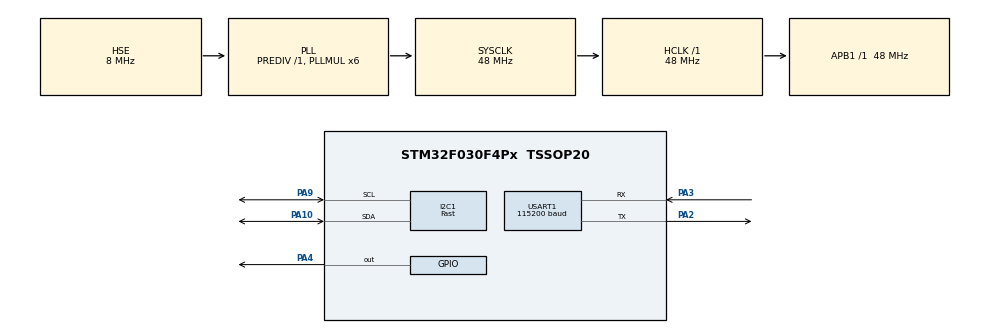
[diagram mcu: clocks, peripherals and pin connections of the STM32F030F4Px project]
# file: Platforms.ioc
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Dma.I2C1_RX.0.Direction=DMA_PERIPH_TO_MEMORY
Dma.I2C1_RX.0.Instance=DMA1_Channel3
Dma.I2C1_RX.0.MemDataAlignment=DMA_MDATAALIGN_BYTE
Dma.I2C1_RX.0.MemInc=DMA_MINC_ENABLE
Dma.I2C1_RX.0.Mode=DMA_NORMAL
Dma.I2C1_RX.0.PeriphDataAlignment=DMA_PDATAALIGN_BYTE
Dma.I2C1_RX.0.PeriphInc=DMA_PINC_DISABLE
Dma.I2C1_RX.0.Priority=DMA_PRIORITY_HIGH
Dma.I2C1_TX.1.Direction=DMA_MEMORY_TO_PERIPH
Dma.I2C1_TX.1.Instance=DMA1_Channel2
Dma.I2C1_TX.1.MemDataAlignment=DMA_MDATAALIGN_BYTE
Dma.I2C1_TX.1.MemInc=DMA_MINC_ENABLE
Dma.I2C1_TX.1.Mode=DMA_NORMAL
Dma.I2C1_TX.1.PeriphDataAlignment=DMA_PDATAALIGN_BYTE
Dma.I2C1_TX.1.PeriphInc=DMA_PINC_DISABLE
Dma.I2C1_TX.1.Priority=DMA_PRIORITY_MEDIUM
Dma.Request0=I2C1_RX
Dma.Request1=I2C1_TX
I2C1.AddressingMode=I2C_ADDRESSINGMODE_7BIT
I2C1.Analog_Filter=I2C_ANALOGFILTER_DISABLED
I2C1.DualAddressMode=I2C_DUALADDRESS_ENABLED
I2C1.GeneralCallMode=I2C_GENERALCALL_ENABLED
I2C1.I2C_Coeff_DF=4
I2C1.I2C_Speed_Mode=I2C_Fast
I2C1.OwnAddress=4
I2C1.Timing=0x00000006
Mcu.Family=STM32F0
Mcu.Name=STM32F030F4Px
Mcu.Package=TSSOP20
NVIC.DMA1_Channel2_3_IRQn=true\:0\:0\:false
NVIC.I2C1_IRQn=true\:0\:0\:false
NVIC.TIM17_IRQn=true\:2\:0\:true
PA10.GPIO_FMA10=__NULL
PA10.Mode=I2C
PA10.Signal=I2C1_SDA
PA13.Mode=Serial-WireDebug
PA13.Signal=SYS_SWDIO
PA14.Mode=Serial-WireDebug
PA14.Signal=SYS_SWCLK
PA2.Mode=Asynchronous
PA2.Signal=USART1_TX
PA3.Mode=Asynchronous
PA3.Signal=USART1_RX
PA4.Signal=GPIO_Output
PA9.GPIO_FMA9=__NULL
PA9.Mode=I2C
PA9.Signal=I2C1_SCL
PF0-OSC_IN.Mode=HSE-External-Oscillator
PF0-OSC_IN.Signal=RCC_OSC_IN
PF1-OSC_OUT.Mode=HSE-External-Oscillator
PF1-OSC_OUT.Signal=RCC_OSC_OUT
ProjectManager.HeapSize=0x200
ProjectManager.StackSize=0x400
ProjectManager.TargetToolchain=MDK-ARM V5
RCC.AHBFreq_Value=48000000
RCC.APB1Freq_Value=48000000
RCC.APB1TimFreq_Value=48000000
RCC.HCLKFreq_Value=48000000
RCC.PLLMUL=RCC_PLL_MUL6
RCC.PLLSourceVirtual=RCC_PLLSOURCE_HSE
RCC.SYSCLKFreq_VALUE=48000000
RCC.SYSCLKSource=RCC_SYSCLKSOURCE_PLLCLK
TIM17.Period=1000
TIM17.Prescaler=479
USART1.BaudRate=115200
VP_TIM17_VS_ClockSourceINT.Mode=Enable_Timer
board=Platforms

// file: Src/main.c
/**
  ******************************************************************************
  * File Name          : main.c
  * Description        : Main program body
  ******************************************************************************
  *
  * COPYRIGHT(c) 2016 STMicroelectronics
  *
  * Redistribution and use in source and binary forms, with or without modification,
  * are permitted provided that the following conditions are met:
  *   1. Redistributions of source code must retain the above copyright notice,
  *      this list of conditions and the following disclaimer.
  *   2. Redistributions in binary form must reproduce the above copyright notice,
  *      this list of conditions and the following disclaimer in the documentation
  *      and/or other materials provided with the distribution.
  *   3. Neither the name of STMicroelectronics nor the names of its contributors
  *      may be used to endorse or promote products derived from this software
  *      without specific prior written permission.
  *
  * THIS SOFTWARE IS PROVIDED BY THE COPYRIGHT HOLDERS AND CONTRIBUTORS "AS IS"
  * AND ANY EXPRESS OR IMPLIED WARRANTIES, INCLUDING, BUT NOT LIMITED TO, THE
  * IMPLIED WARRANTIES OF MERCHANTABILITY AND FITNESS FOR A PARTICULAR PURPOSE ARE
  * DISCLAIMED. IN NO EVENT SHALL THE COPYRIGHT HOLDER OR CONTRIBUTORS BE LIABLE
  * FOR ANY DIRECT, INDIRECT, INCIDENTAL, SPECIAL, EXEMPLARY, OR CONSEQUENTIAL
  * DAMAGES (INCLUDING, BUT NOT LIMITED TO, PROCUREMENT OF SUBSTITUTE GOODS OR
  * SERVICES; LOSS OF USE, DATA, OR PROFITS; OR BUSINESS INTERRUPTION) HOWEVER
  * CAUSED AND ON ANY THEORY OF LIABILITY, WHETHER IN CONTRACT, STRICT LIABILITY,
  * OR TORT (INCLUDING NEGLIGENCE OR OTHERWISE) ARISING IN ANY WAY OUT OF THE USE
  * OF THIS SOFTWARE, EVEN IF ADVISED OF THE POSSIBILITY OF SUCH DAMAGE.
  *
  ******************************************************************************
  */

/* USER CODE BEGIN Includes */

#include "main.h"
#include "cLEDs.h"		//代表状态灯
#include "sI2C.h"
#include "sKey.h"

/* USER CODE END Includes */

/* USER CODE BEGIN PV */
/* Private variables ---------------------------------------------------------*/

/* Buffer used for transmission */

/* Buffer used for reception */

/* USER CODE END PV */

void SystemClock_Config(void);

/* USER CODE BEGIN PFP */
/* Private function prototypes -----------------------------------------------*/

/* USER CODE END PFP */

/* USER CODE BEGIN 0 */

#ifdef __GNUC__
#define PUTCHAR_PROTOTYPE int __io_putchar(int ch)
#else
#define PUTCHAR_PROTOTYPE int fputc(int ch, FILE *f)
#endif /* __GNUC__ */
PUTCHAR_PROTOTYPE
{
	HAL_UART_Transmit(&huart1 , (uint8_t *)&ch, 1, 100);
	return ch;
}

#define APPLICATION_ADDRESS				(uint32_t)0x08001000
#define SYSCFG_MemoryRemap_SRAM		((uint8_t)0x03)

#if   (defined ( __CC_ARM ))
  __IO uint32_t VectorTable[48] __attribute__((at(0x20000000)));
#elif (defined (__ICCARM__))
#pragma location = 0x20000000
  __no_init __IO uint32_t VectorTable[48];
#elif defined   (  __GNUC__  )
  __IO uint32_t VectorTable[48] __attribute__((section(".RAMVectorTable")));
#elif defined ( __TASKING__ )
  __IO uint32_t VectorTable[48] __at(0x20000000);
#endif

void NVIC_SRAM(void)
{
	for(uint8_t i = 0; i < 48; i++)
  {
    VectorTable[i] = *(__IO uint32_t*)(APPLICATION_ADDRESS + (i<<2));
  }

	uint32_t tmpctrl = 0;
  /* Get CFGR1 register value */
  tmpctrl = SYSCFG->CFGR1;

  /* Clear MEM_MODE bits */
  tmpctrl &= (uint32_t) (~SYSCFG_CFGR1_MEM_MODE);

  /* Set the new MEM_MODE bits value */
  tmpctrl |= (uint32_t) SYSCFG_MemoryRemap_SRAM;

  /* Set CFGR1 register with the new memory remap configuration */
  SYSCFG->CFGR1 = tmpctrl;
}

/* USER CODE END 0 */

int main(void)
{

  /* USER CODE BEGIN 1 */

//  if(NVIC_GetPendingIRQ(SysTick_IRQn) != RESET)
//  {
//    HAL_NVIC_ClearPendingIRQ(SysTick_IRQn);
//		HAL_UART_Transmit(&huart1,"SysTick_IRQn\r\n",14,10);
//  }
  /* USER CODE END 1 */

  /* MCU Configuration----------------------------------------------------------*/

  /* Reset of all peripherals, Initializes the Flash interface and the Systick. */
  HAL_Init();

  /* Configure the system clock */

	NVIC_SRAM();
	SystemClock_Config();
  /* Initialize all configured peripherals */
  MX_GPIO_Init();
  MX_DMA_Init();
  MX_I2C1_Init();
  MX_TIM17_Init();
  MX_USART1_UART_Init();

  /* USER CODE BEGIN 2 */
  HAL_TIM_Base_Start_IT(&htim17);

	cLEDs_Init();
	sKey_Init();
	printf("I am sKey\r\n");

	HAL_I2C_Slave_Receive_DMA(&hi2c1,i2c_Data.frame,I2C_FRAME_SIZE);

  /* USER CODE END 2 */

  /* Infinite loop */
	while(1)
	{

  /* USER CODE BEGIN 3 */
		//此处进入休眠状态
	}
  /* USER CODE END 3 */

}
/* USER CODE BEGIN 4 */

void HAL_TIM_PeriodElapsedCallback(TIM_HandleTypeDef *htim)  //定时中断
{
	HAL_TIM_Base_Start_IT(&htim17);
	if(i2c_Data.cmd == 0x51)
	{
		HAL_GPIO_TogglePin(GPIOA,GPIO_PIN_1);
		i2c_Data.cmd = 0x00;
	}
}

void HAL_SYSTICK_Callback(void)
{
	if(HAL_GetTick()%1000==0)
	{
		cLEDs_Toggle(R);

		//如果I2C进入空闲状态，必须重启接收
		if(HAL_I2C_GetState(&hi2c1)==HAL_I2C_STATE_READY)
		{
			HAL_I2C_Slave_Receive_DMA(&hi2c1,i2c_Data.frame,I2C_FRAME_SIZE);
		}
	}
}

void HAL_I2C_SlaveRxCpltCallback(I2C_HandleTypeDef *hi2c)
{
	i2cdata_parse(&deviceMe,&i2c_Data);
	if(checkCRC(&i2c_Data)==true)
	{
		//广播帧
		if(getI2CHardAddress(&i2c_Data) == I2C_BROADCAST_ADDR)
		{
			deviceMe.command = 0x05;
			i2cdata_update(&deviceMe, &i2c_Data);
			HAL_I2C_Slave_Transmit_DMA(&hi2c1,i2c_Data.frame,I2C_FRAME_SIZE);
		}
		//数据帧
		else if(getI2CHardAddress(&i2c_Data) == SLAVE_HARD_ADDR)
		{
			if(checkI2CSoftAddress(&deviceMe,&i2c_Data)==true)
			{
				printf("OK:0x%x\r\n",i2c_Data.cmd);
				sExecuteComand(&deviceMe, &i2c_Data);
				i2cdata_update(&deviceMe, &i2c_Data);
				HAL_I2C_Slave_Transmit_DMA(&hi2c1,i2c_Data.frame,I2C_FRAME_SIZE);
			}
		}
	}
	else
	{
		printf("======CRC ERROR\r\n");
		HAL_I2C_Slave_Receive_DMA(&hi2c1,i2c_Data.frame,I2C_FRAME_SIZE);
	}
}

void HAL_I2C_SlaveTxCpltCallback(I2C_HandleTypeDef *hi2c)
{
	printf("HAL_I2C_SlaveTx OK------------\r\n");
	HAL_I2C_Slave_Receive_DMA(&hi2c1,i2c_Data.frame,I2C_FRAME_SIZE);
}

void HAL_I2C_ErrorCallback(I2C_HandleTypeDef *hi2c)  //HAL_I2C_ERROR_BERR
{
	printf("HAL_I2C_ErrorCallback------------\r\n");
	HAL_DMA_Abort(&hdma_i2c1_rx);
	HAL_DMA_Abort(&hdma_i2c1_tx);
	HAL_I2C_Slave_Receive_DMA(&hi2c1,i2c_Data.frame ,I2C_FRAME_SIZE);
}

/* USER CODE END 4 */

/** System Clock Configuration
*/
void SystemClock_Config(void)
{

  RCC_OscInitTypeDef RCC_OscInitStruct;
  RCC_ClkInitTypeDef RCC_ClkInitStruct;
  RCC_PeriphCLKInitTypeDef PeriphClkInit;

  RCC_OscInitStruct.OscillatorType = RCC_OSCILLATORTYPE_HSI|RCC_OSCILLATORTYPE_HSE;
  RCC_OscInitStruct.HSEState = RCC_HSE_ON;
  RCC_OscInitStruct.HSIState = RCC_HSI_ON;
  RCC_OscInitStruct.HSICalibrationValue = 16;
  RCC_OscInitStruct.PLL.PLLState = RCC_PLL_ON;
  RCC_OscInitStruct.PLL.PLLSource = RCC_PLLSOURCE_HSE;
  RCC_OscInitStruct.PLL.PLLMUL = RCC_PLL_MUL6;
  RCC_OscInitStruct.PLL.PREDIV = RCC_PREDIV_DIV1;
  HAL_RCC_OscConfig(&RCC_OscInitStruct);

  RCC_ClkInitStruct.ClockType = RCC_CLOCKTYPE_SYSCLK;
  RCC_ClkInitStruct.SYSCLKSource = RCC_SYSCLKSOURCE_PLLCLK;
  RCC_ClkInitStruct.AHBCLKDivider = RCC_SYSCLK_DIV1;
  RCC_ClkInitStruct.APB1CLKDivider = RCC_HCLK_DIV1;
  HAL_RCC_ClockConfig(&RCC_ClkInitStruct, FLASH_LATENCY_1);

  PeriphClkInit.PeriphClockSelection = RCC_PERIPHCLK_USART1|RCC_PERIPHCLK_I2C1;
  PeriphClkInit.Usart1ClockSelection = RCC_USART1CLKSOURCE_PCLK1;
  PeriphClkInit.I2c1ClockSelection = RCC_I2C1CLKSOURCE_HSI;
  HAL_RCCEx_PeriphCLKConfig(&PeriphClkInit);

  HAL_SYSTICK_Config(HAL_RCC_GetHCLKFreq()/1000);

  HAL_SYSTICK_CLKSourceConfig(SYSTICK_CLKSOURCE_HCLK);

  /* SysTick_IRQn interrupt configuration */
  HAL_NVIC_SetPriority(SysTick_IRQn, 0, 0);
}

/************************ (C) COPYRIGHT STMicroelectronics *****END OF FILE****/
